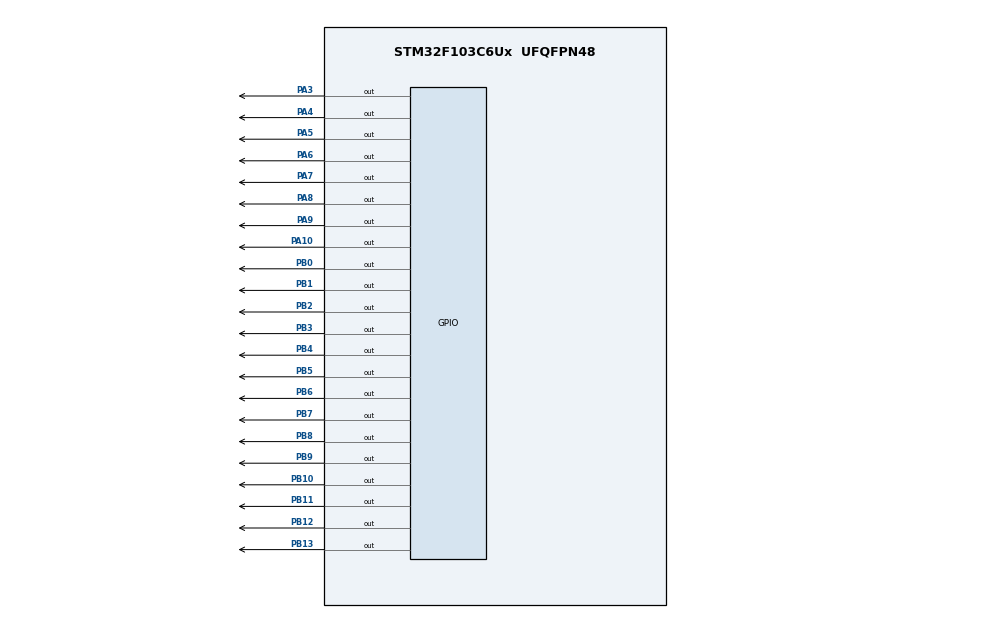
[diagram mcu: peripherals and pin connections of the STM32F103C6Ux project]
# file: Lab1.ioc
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Mcu.Family=STM32F1
Mcu.Name=STM32F103C6Ux
Mcu.Package=UFQFPN48
NVIC.PriorityGroup=NVIC_PRIORITYGROUP_4
PA10.Signal=GPIO_Output
PA3.Signal=GPIO_Output
PA4.Signal=GPIO_Output
PA5.Signal=GPIO_Output
PA6.Signal=GPIO_Output
PA7.Signal=GPIO_Output
PA8.Signal=GPIO_Output
PA9.Signal=GPIO_Output
PB0.Signal=GPIO_Output
PB1.Signal=GPIO_Output
PB10.Signal=GPIO_Output
PB11.Signal=GPIO_Output
PB12.Signal=GPIO_Output
PB13.Signal=GPIO_Output
PB2.Signal=GPIO_Output
PB3.Signal=GPIO_Output
PB4.Signal=GPIO_Output
PB5.Signal=GPIO_Output
PB6.Signal=GPIO_Output
PB7.Signal=GPIO_Output
PB8.Signal=GPIO_Output
PB9.Signal=GPIO_Output
ProjectManager.HeapSize=0x200
ProjectManager.StackSize=0x400
ProjectManager.TargetToolchain=STM32CubeIDE
RCC.APB1Freq_Value=8000000
RCC.APB2Freq_Value=8000000
VP_SYS_VS_ND.Mode=No_Debug
board=custom

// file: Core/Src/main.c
/* USER CODE BEGIN Header */
/**
  ******************************************************************************
  * @file           : main.c
  * @brief          : Main program body
  ******************************************************************************
  * @attention
  *
  * <h2><center>&copy; Copyright (c) 2021 STMicroelectronics.
  * All rights reserved.</center></h2>
  *
  * This software component is licensed by ST under BSD 3-Clause license,
  * the "License"; You may not use this file except in compliance with the
  * License. You may obtain a copy of the License at:
  *                        opensource.org/licenses/BSD-3-Clause
  *
  ******************************************************************************
  */
/* USER CODE END Header */
#include "main.h"

void SystemClock_Config(void);
static void MX_GPIO_Init(void);

/* USER CODE BEGIN 0 */

//---------------------------------------

//Exercise 1

//---------------------------------------

void exercise_1 () {
	  HAL_GPIO_WritePin ( GPIOA , GPIO_PIN_5, GPIO_PIN_RESET) ;
	  HAL_GPIO_WritePin ( GPIOA , GPIO_PIN_6, GPIO_PIN_SET) ;
	  HAL_Delay (2000) ;
	  HAL_GPIO_WritePin ( GPIOA , GPIO_PIN_5, GPIO_PIN_SET) ;
	  HAL_GPIO_WritePin ( GPIOA , GPIO_PIN_6, GPIO_PIN_RESET) ;
	  HAL_Delay (2000) ;

}

//---------------------------------------

//Exercise 2

//---------------------------------------

void exercise_2 () {
	  HAL_GPIO_WritePin ( GPIOA , GPIO_PIN_5, GPIO_PIN_RESET) ;
	  HAL_GPIO_WritePin ( GPIOA , GPIO_PIN_6, GPIO_PIN_SET) ;
	  HAL_GPIO_WritePin ( GPIOA , GPIO_PIN_7, GPIO_PIN_SET) ;
	  HAL_Delay (5000) ;
	  HAL_GPIO_WritePin ( GPIOA , GPIO_PIN_5, GPIO_PIN_SET) ;
	  HAL_GPIO_WritePin ( GPIOA , GPIO_PIN_7, GPIO_PIN_RESET) ;
	  HAL_Delay (3000) ;
	  HAL_GPIO_WritePin ( GPIOA , GPIO_PIN_6, GPIO_PIN_RESET) ;
	  HAL_GPIO_WritePin ( GPIOA , GPIO_PIN_7, GPIO_PIN_SET) ;
	  HAL_Delay (2000) ;

}

//---------------------------------------

//Exercise 3

//---------------------------------------

void exercise_3 (){
	  //RED1
	  HAL_GPIO_WritePin ( GPIOA , GPIO_PIN_5, GPIO_PIN_RESET) ;
	  HAL_GPIO_WritePin ( GPIOA , GPIO_PIN_6, GPIO_PIN_SET) ;
	  HAL_GPIO_WritePin ( GPIOA , GPIO_PIN_7, GPIO_PIN_SET) ;
	  //GREEN2
	  HAL_GPIO_WritePin ( GPIOA , GPIO_PIN_8, GPIO_PIN_SET) ;
	  HAL_GPIO_WritePin ( GPIOA , GPIO_PIN_9, GPIO_PIN_SET) ;
	  HAL_GPIO_WritePin ( GPIOA , GPIO_PIN_10, GPIO_PIN_RESET) ;

	  HAL_Delay (3000) ;
	  //YELLOW2
	  HAL_GPIO_WritePin ( GPIOA , GPIO_PIN_9, GPIO_PIN_RESET) ;
	  HAL_GPIO_WritePin ( GPIOA , GPIO_PIN_10, GPIO_PIN_SET) ;

	  HAL_Delay (2000) ;
	  //RED2
	  HAL_GPIO_WritePin ( GPIOA , GPIO_PIN_8, GPIO_PIN_RESET) ;
	  HAL_GPIO_WritePin ( GPIOA , GPIO_PIN_9, GPIO_PIN_SET) ;
	  //GREEN1
	  HAL_GPIO_WritePin ( GPIOA , GPIO_PIN_5, GPIO_PIN_SET) ;
	  HAL_GPIO_WritePin ( GPIOA , GPIO_PIN_7, GPIO_PIN_RESET) ;

	  HAL_Delay (2000) ;
	  //YELLOW1
	  HAL_GPIO_WritePin ( GPIOA , GPIO_PIN_6, GPIO_PIN_RESET) ;
	  HAL_GPIO_WritePin ( GPIOA , GPIO_PIN_7, GPIO_PIN_SET) ;
	  HAL_Delay (3000) ;
}

//---------------------------------------

//Exercise 4

//---------------------------------------

uint8_t counter = 0;
uint8_t valueToDisplay = 0;
uint8_t value1 = 0;
uint8_t value2 = 0;

void exercise_4 (){
	  valueToDisplay = (valueToDisplay + 1) % 10;
	  display7SEG(valueToDisplay);
	  HAL_Delay(1000);

}

//---------------------------------------

//Exercise 5

//---------------------------------------

void exercise_5 (){
	  //Init
	  const uint8_t TRAFFIC_LIGHT_MAX[3] = {5, 3, 2}; //RED, GREEN, YELLOW

	  counter = 0;

	  uint8_t state1 = 0; //RED
	  value1 = TRAFFIC_LIGHT_MAX[state1]+1;
	  update_light_led_buffer(state1, 0);

	  uint8_t state2 = 1; //GREEN
	  value2 = TRAFFIC_LIGHT_MAX[state2]+1;
	  update_light_led_buffer(state2, 1);

	  //Loop
	  while(1){

		  if(counter == 0){
			  value1--;
			  value2--;
			  if(!value1) {
				  state1 = (state1+1)%3;
				  value1 = TRAFFIC_LIGHT_MAX[state1];
				  update_light_led_buffer(state1, 0);

			  }
			  if(!value2) {
				  state2 = (state2+1)%3;
				  value2 = TRAFFIC_LIGHT_MAX[state2];
				  update_light_led_buffer(state2, 1);

			  }
			  if(!update_seven_segment_led_buffer(value1, 0) ||
					  !update_seven_segment_led_buffer(value2, 1))
				  printf("ERROR DETECTED");

		  }
		  else {
			  seven_segment_led_driver();
			  transport_light_led_driver();

		  }
		  HAL_Delay(10);
		  counter = (counter+1)%100;
	  }

 }

//---------------------------------------

//Exercise 10

//---------------------------------------

void exercise_10 (){
	  uint8_t HRS_MAX = 12;
	  uint8_t MIN_MAX = 60;
	  uint8_t SEC_MAX = 60;
	  uint8_t HRS = 0;
	  uint8_t MIN = 59;
	  uint8_t SEC = 10;
	  uint8_t NUMBER_OF_LEDS = 12;

	  clearAllClock();
	  setNumberOnClock(SEC / (SEC_MAX / NUMBER_OF_LEDS) );
	  setNumberOnClock(MIN / (MIN_MAX / NUMBER_OF_LEDS) );

	  while(1){
		  //UPDATE SECOND
		  clearNumberOnClock(SEC / (SEC_MAX / NUMBER_OF_LEDS) );
		  SEC = (SEC+1) % SEC_MAX;
		  setNumberOnClock(SEC / (SEC_MAX / NUMBER_OF_LEDS) );

		  //UPDATE MINUTE
		  if(!SEC) {
			  clearNumberOnClock(MIN / (MIN_MAX / NUMBER_OF_LEDS) );
			  MIN = (MIN+1) % MIN_MAX;
			  setNumberOnClock(MIN / (MIN_MAX / NUMBER_OF_LEDS) );
			  if(!MIN) {
			  			  clearNumberOnClock(HRS );
			  			  HRS = (HRS+1) % HRS_MAX;
			  			  setNumberOnClock(HRS );
			  }
			  else setNumberOnClock(HRS );
		  }
		  else {
			  setNumberOnClock(MIN / (MIN_MAX / NUMBER_OF_LEDS) );
			  setNumberOnClock(HRS );
		  }

		  HAL_Delay(50);
	  }

	  //test
	  while(0){
		  for(int i=0; i< 12; i++){
			  setNumberOnClock(i);
			  HAL_Delay(500);
		  }
	  }
	  while(0){

		  //UPDATE SECOND
		  clearNumberOnClock(SEC / (SEC_MAX / NUMBER_OF_LEDS) );
		  SEC = (SEC+1) % SEC_MAX;
		  setNumberOnClock(SEC / (SEC_MAX / NUMBER_OF_LEDS) );

		  //UPDATE MINUTE
		  if(!SEC) {
			  clearNumberOnClock(MIN / (MIN_MAX / NUMBER_OF_LEDS) );
			  MIN = (MIN+1) % MIN_MAX;
			  setNumberOnClock(MIN / (MIN_MAX / NUMBER_OF_LEDS) );
		  }
		  else setNumberOnClock(MIN / (MIN_MAX / NUMBER_OF_LEDS) );

		  //UPDATE HOUR
		  if(!MIN) {
			  clearNumberOnClock(HRS );
			  HRS = (HRS+1) % HRS_MAX;
			  setNumberOnClock(HRS );
		  }
		  else setNumberOnClock(HRS );

		  HAL_Delay(500);
	  }
}

/* USER CODE END 0 */

int main(void)
{

  /* MCU Configuration--------------------------------------------------------*/

  /* Reset of all peripherals, Initializes the Flash interface and the Systick. */
  HAL_Init();

  /* Configure the system clock */
  SystemClock_Config();

  /* Initialize all configured peripherals */
  MX_GPIO_Init();

  /* Infinite loop */
  while (1)
  {

    /* USER CODE BEGIN 3 */
	  HAL_GPIO_WritePin ( GPIOA , GPIO_PIN_5, GPIO_PIN_RESET) ;
	  HAL_GPIO_WritePin ( GPIOA , GPIO_PIN_6, GPIO_PIN_SET) ;
	  HAL_GPIO_WritePin ( GPIOA , GPIO_PIN_7, GPIO_PIN_SET) ;
	  HAL_Delay (5000) ;
	  HAL_GPIO_WritePin ( GPIOA , GPIO_PIN_5, GPIO_PIN_SET) ;
	  HAL_GPIO_WritePin ( GPIOA , GPIO_PIN_7, GPIO_PIN_RESET) ;
	  HAL_Delay (3000) ;
	  HAL_GPIO_WritePin ( GPIOA , GPIO_PIN_6, GPIO_PIN_RESET) ;
	  HAL_GPIO_WritePin ( GPIOA , GPIO_PIN_7, GPIO_PIN_SET) ;
	  HAL_Delay (2000) ;
  }
  /* USER CODE END 3 */
}

void SystemClock_Config(void)
{
  RCC_OscInitTypeDef RCC_OscInitStruct = {0};
  RCC_ClkInitTypeDef RCC_ClkInitStruct = {0};

  /** Initializes the RCC Oscillators according to the specified parameters
  * in the RCC_OscInitTypeDef structure.
  */
  RCC_OscInitStruct.OscillatorType = RCC_OSCILLATORTYPE_HSI;
  RCC_OscInitStruct.HSIState = RCC_HSI_ON;
  RCC_OscInitStruct.HSICalibrationValue = RCC_HSICALIBRATION_DEFAULT;
  RCC_OscInitStruct.PLL.PLLState = RCC_PLL_NONE;
  if (HAL_RCC_OscConfig(&RCC_OscInitStruct) != HAL_OK)
  {
    Error_Handler();
  }
  /** Initializes the CPU, AHB and APB buses clocks
  */
  RCC_ClkInitStruct.ClockType = RCC_CLOCKTYPE_HCLK|RCC_CLOCKTYPE_SYSCLK
                              |RCC_CLOCKTYPE_PCLK1|RCC_CLOCKTYPE_PCLK2;
  RCC_ClkInitStruct.SYSCLKSource = RCC_SYSCLKSOURCE_HSI;
  RCC_ClkInitStruct.AHBCLKDivider = RCC_SYSCLK_DIV1;
  RCC_ClkInitStruct.APB1CLKDivider = RCC_HCLK_DIV1;
  RCC_ClkInitStruct.APB2CLKDivider = RCC_HCLK_DIV1;

  if (HAL_RCC_ClockConfig(&RCC_ClkInitStruct, FLASH_LATENCY_0) != HAL_OK)
  {
    Error_Handler();
  }
}

static void MX_GPIO_Init(void)
{
  GPIO_InitTypeDef GPIO_InitStruct = {0};

  /* GPIO Ports Clock Enable */
  __HAL_RCC_GPIOA_CLK_ENABLE();
  __HAL_RCC_GPIOB_CLK_ENABLE();

  /*Configure GPIO pin Output Level */
  HAL_GPIO_WritePin(GPIOA, GPIO_PIN_3|GPIO_PIN_4|GPIO_PIN_5|GPIO_PIN_6
                          |GPIO_PIN_7|GPIO_PIN_8|GPIO_PIN_9|GPIO_PIN_10, GPIO_PIN_RESET);

  /*Configure GPIO pin Output Level */
  HAL_GPIO_WritePin(GPIOB, GPIO_PIN_0|GPIO_PIN_1|GPIO_PIN_2|GPIO_PIN_10
                          |GPIO_PIN_11|GPIO_PIN_12|GPIO_PIN_13|GPIO_PIN_3
                          |GPIO_PIN_4|GPIO_PIN_5|GPIO_PIN_6|GPIO_PIN_7
                          |GPIO_PIN_8|GPIO_PIN_9, GPIO_PIN_RESET);

  /*Configure GPIO pins : PA3 PA4 PA5 PA6
                           PA7 PA8 PA9 PA10 */
  GPIO_InitStruct.Pin = GPIO_PIN_3|GPIO_PIN_4|GPIO_PIN_5|GPIO_PIN_6
                          |GPIO_PIN_7|GPIO_PIN_8|GPIO_PIN_9|GPIO_PIN_10;
  GPIO_InitStruct.Mode = GPIO_MODE_OUTPUT_PP;
  GPIO_InitStruct.Pull = GPIO_NOPULL;
  GPIO_InitStruct.Speed = GPIO_SPEED_FREQ_LOW;
  HAL_GPIO_Init(GPIOA, &GPIO_InitStruct);

  /*Configure GPIO pins : PB0 PB1 PB2 PB10
                           PB11 PB12 PB13 PB3
                           PB4 PB5 PB6 PB7
                           PB8 PB9 */
  GPIO_InitStruct.Pin = GPIO_PIN_0|GPIO_PIN_1|GPIO_PIN_2|GPIO_PIN_10
                          |GPIO_PIN_11|GPIO_PIN_12|GPIO_PIN_13|GPIO_PIN_3
                          |GPIO_PIN_4|GPIO_PIN_5|GPIO_PIN_6|GPIO_PIN_7
                          |GPIO_PIN_8|GPIO_PIN_9;
  GPIO_InitStruct.Mode = GPIO_MODE_OUTPUT_PP;
  GPIO_InitStruct.Pull = GPIO_NOPULL;
  GPIO_InitStruct.Speed = GPIO_SPEED_FREQ_LOW;
  HAL_GPIO_Init(GPIOB, &GPIO_InitStruct);

}

void Error_Handler(void)
{
  __disable_irq();
  while (1)
  {
  }
}

/************************ (C) COPYRIGHT STMicroelectronics *****END OF FILE****/
